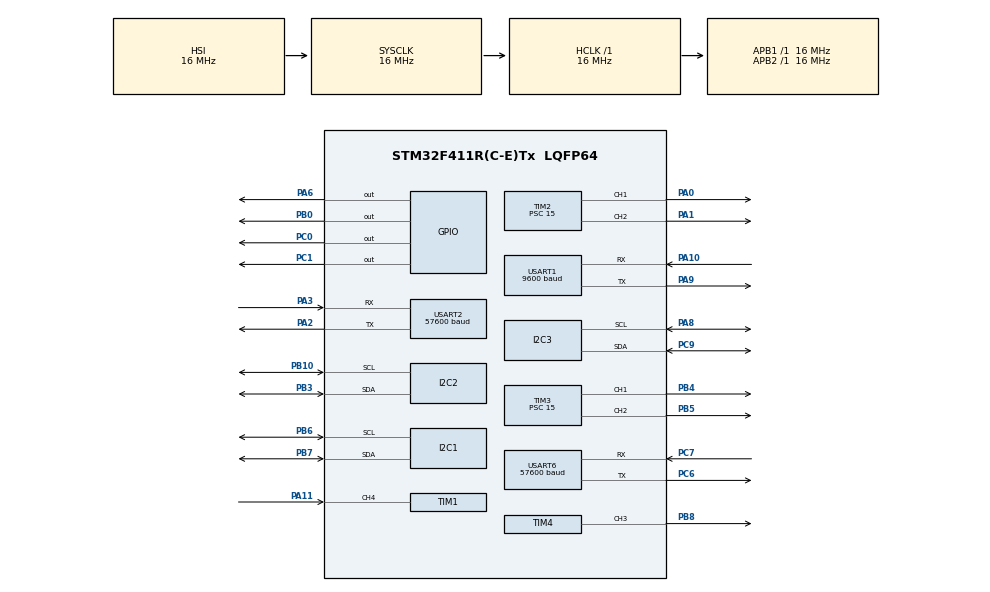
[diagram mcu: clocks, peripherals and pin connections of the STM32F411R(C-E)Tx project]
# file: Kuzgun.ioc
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Dma.Request0=USART2_TX
Dma.Request1=USART6_TX
Dma.USART2_TX.0.Direction=DMA_MEMORY_TO_PERIPH
Dma.USART2_TX.0.FIFOMode=DMA_FIFOMODE_DISABLE
Dma.USART2_TX.0.Instance=DMA1_Stream6
Dma.USART2_TX.0.MemDataAlignment=DMA_MDATAALIGN_BYTE
Dma.USART2_TX.0.MemInc=DMA_MINC_ENABLE
Dma.USART2_TX.0.Mode=DMA_NORMAL
Dma.USART2_TX.0.PeriphDataAlignment=DMA_PDATAALIGN_BYTE
Dma.USART2_TX.0.PeriphInc=DMA_PINC_DISABLE
Dma.USART2_TX.0.Priority=DMA_PRIORITY_LOW
Dma.USART6_TX.1.Direction=DMA_MEMORY_TO_PERIPH
Dma.USART6_TX.1.FIFOMode=DMA_FIFOMODE_DISABLE
Dma.USART6_TX.1.Instance=DMA2_Stream6
Dma.USART6_TX.1.MemDataAlignment=DMA_MDATAALIGN_BYTE
Dma.USART6_TX.1.MemInc=DMA_MINC_ENABLE
Dma.USART6_TX.1.Mode=DMA_NORMAL
Dma.USART6_TX.1.PeriphDataAlignment=DMA_PDATAALIGN_BYTE
Dma.USART6_TX.1.PeriphInc=DMA_PINC_DISABLE
Dma.USART6_TX.1.Priority=DMA_PRIORITY_LOW
FREERTOS.Tasks01=defaultTask,24,128,StartDefaultTask,Default,NULL,Dynamic,NULL,NULL
FREERTOS.configUSE_NEWLIB_REENTRANT=1
I2C1.I2C_Mode=I2C_Fast
I2C2.I2C_Mode=I2C_Fast
Mcu.Family=STM32F4
Mcu.Name=STM32F411R(C-E)Tx
Mcu.Package=LQFP64
NVIC.DMA1_Stream6_IRQn=true\:5\:0\:false\:false\:true\:true\:false\:true\:true
NVIC.DMA2_Stream6_IRQn=true\:5\:0\:false\:false\:true\:true\:false\:true\:true
NVIC.PriorityGroup=NVIC_PRIORITYGROUP_4
NVIC.TIM1_CC_IRQn=true\:5\:0\:false\:false\:true\:true\:true\:true\:true
NVIC.USART1_IRQn=true\:5\:0\:false\:false\:true\:true\:true\:true\:true
NVIC.USART2_IRQn=true\:5\:0\:false\:false\:true\:true\:true\:true\:true
NVIC.USART6_IRQn=true\:5\:0\:false\:false\:true\:true\:true\:true\:true
PA0-WKUP.Signal=S_TIM2_CH1_ETR
PA1.Signal=S_TIM2_CH2
PA10.Mode=Asynchronous
PA10.Signal=USART1_RX
PA11.Signal=S_TIM1_CH4
PA2.Mode=Asynchronous
PA2.Signal=USART2_TX
PA3.Mode=Asynchronous
PA3.Signal=USART2_RX
PA6.Signal=GPIO_Output
PA8.Mode=I2C
PA8.Signal=I2C3_SCL
PA9.Mode=Asynchronous
PA9.Signal=USART1_TX
PB0.Signal=GPIO_Output
PB10.Mode=I2C
PB10.Signal=I2C2_SCL
PB3.Mode=I2C
PB3.Signal=I2C2_SDA
PB4.Signal=S_TIM3_CH1
PB5.Signal=S_TIM3_CH2
PB6.Mode=I2C
PB6.Signal=I2C1_SCL
PB7.Mode=I2C
PB7.Signal=I2C1_SDA
PB8.Signal=S_TIM4_CH3
PC0.Signal=GPIO_Output
PC1.Signal=GPIO_Output
PC6.Mode=Asynchronous
PC6.Signal=USART6_TX
PC7.Mode=Asynchronous
PC7.Signal=USART6_RX
PC9.Mode=I2C
PC9.Signal=I2C3_SDA
ProjectManager.HeapSize=0x200
ProjectManager.StackSize=0x400
ProjectManager.TargetToolchain=STM32CubeIDE
RCC.AHBFreq_Value=16000000
RCC.APB1Freq_Value=16000000
RCC.APB2Freq_Value=16000000
RCC.CortexFreq_Value=16000000
RCC.HSE_VALUE=25000000
RCC.HSI_VALUE=16000000
RCC.LSE_VALUE=32768
RCC.SYSCLKFreq_VALUE=16000000
RCC.VCOOutputFreq_Value=192000000
SH.S_TIM1_CH4.0=TIM1_CH4,Input_Capture4_from_TI4
SH.S_TIM2_CH1_ETR.0=TIM2_CH1,PWM Generation1 CH1
SH.S_TIM2_CH2.0=TIM2_CH2,PWM Generation2 CH2
SH.S_TIM3_CH1.0=TIM3_CH1,PWM Generation1 CH1
SH.S_TIM3_CH2.0=TIM3_CH2,PWM Generation2 CH2
SH.S_TIM4_CH3.0=TIM4_CH3,PWM Generation3 CH3
TIM1.Channel-Input_Capture4_from_TI4=TIM_CHANNEL_4
TIM1.Prescaler=15
TIM2.Channel-PWM\ Generation1\ CH1=TIM_CHANNEL_1
TIM2.Channel-PWM\ Generation2\ CH2=TIM_CHANNEL_2
TIM2.Period=999
TIM2.Prescaler=15
TIM2.Pulse-PWM\ Generation1\ CH1=0
TIM2.Pulse-PWM\ Generation2\ CH2=0
TIM3.Channel-PWM\ Generation1\ CH1=TIM_CHANNEL_1
TIM3.Channel-PWM\ Generation2\ CH2=TIM_CHANNEL_2
TIM3.Period=999
TIM3.Prescaler=15
TIM3.Pulse-PWM\ Generation1\ CH1=0
TIM3.Pulse-PWM\ Generation2\ CH2=0
TIM4.Channel-PWM\ Generation3\ CH3=TIM_CHANNEL_3
TIM4.Period=19999
TIM4.Prescaler=15
USART1.BaudRate=9600
USART1.VirtualMode=VM_ASYNC
USART2.BaudRate=57600
USART2.VirtualMode=VM_ASYNC
USART6.BaudRate=57600
USART6.VirtualMode=VM_ASYNC
VP_FREERTOS_VS_CMSIS_V2.Mode=CMSIS_V2
VP_TIM10_VS_ClockSourceINT.Mode=Enable_Timer
board=custom

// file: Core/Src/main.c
/* USER CODE BEGIN Header */
/**
  ******************************************************************************
  * @file           : main.c
  * @brief          : Main program body
  ******************************************************************************
  * @attention
  *
  * Copyright (c) 2026 STMicroelectronics.
  * All rights reserved.
  *
  * This software is licensed under terms that can be found in the LICENSE file
  * in the root directory of this software component.
  * If no LICENSE file comes with this software, it is provided AS-IS.
  *
  ******************************************************************************
  */
/* USER CODE END Header */
#include "main.h"
#include "cmsis_os.h"

/* USER CODE BEGIN Includes */
#include "controlPPM.h"
#include "flightcontroller.h"
#include <string.h>
#include "serialManager.h"
#include "gpsSystem.h"
#include "servoMotor.h"
#include "stepMotor.h"
#include "raspiManager.h"
/* USER CODE END Includes */

/* USER CODE BEGIN PD */
volatile uint32_t tim2_ic_cnt = 0;
/* USER CODE END PD */

I2C_HandleTypeDef hi2c1;
I2C_HandleTypeDef hi2c2;
I2C_HandleTypeDef hi2c3;

TIM_HandleTypeDef htim1;
TIM_HandleTypeDef htim2;
TIM_HandleTypeDef htim3;
TIM_HandleTypeDef htim4;
TIM_HandleTypeDef htim10;

UART_HandleTypeDef huart1;
UART_HandleTypeDef huart2;
UART_HandleTypeDef huart6;
DMA_HandleTypeDef hdma_usart2_tx;
DMA_HandleTypeDef hdma_usart6_tx;

/* Definitions for defaultTask */
osThreadId_t defaultTaskHandle;
const osThreadAttr_t defaultTask_attributes = {
  .name = "defaultTask",
  .stack_size = 128 * 4,
  .priority = (osPriority_t) osPriorityNormal,
};

void SystemClock_Config(void);
static void MX_GPIO_Init(void);
static void MX_DMA_Init(void);
static void MX_USART2_UART_Init(void);
static void MX_I2C2_Init(void);
static void MX_USART1_UART_Init(void);
static void MX_I2C1_Init(void);
static void MX_USART6_UART_Init(void);
static void MX_TIM10_Init(void);
static void MX_I2C3_Init(void);
static void MX_TIM2_Init(void);
static void MX_TIM1_Init(void);
static void MX_TIM3_Init(void);
static void MX_TIM4_Init(void);
void StartDefaultTask(void *argument);

int main(void)
{

  /* MCU Configuration--------------------------------------------------------*/

  /* Reset of all peripherals, Initializes the Flash interface and the Systick. */
  HAL_Init();

  /* Configure the system clock */
  SystemClock_Config();

  /* Initialize all configured peripherals */
  MX_GPIO_Init();
  MX_DMA_Init();
  MX_USART2_UART_Init();
  MX_I2C2_Init();
  MX_USART1_UART_Init();
  MX_I2C1_Init();
  MX_USART6_UART_Init();
  MX_TIM10_Init();
  MX_I2C3_Init();
  MX_TIM2_Init();
  MX_TIM1_Init();
  MX_TIM3_Init();
  MX_TIM4_Init();

  /* Init scheduler */
  osKernelInitialize();

  /* USER CODE BEGIN RTOS_QUEUES */
  flightController_Init();
  /* add queues, ... */
  /* USER CODE END RTOS_QUEUES */

  /* Create the thread(s) */
  /* creation of defaultTask */
  defaultTaskHandle = osThreadNew(StartDefaultTask, NULL, &defaultTask_attributes);

  /* Start scheduler */
  osKernelStart();

  /* We should never get here as control is now taken by the scheduler */

  /* Infinite loop */
  while (1)
  {

    /* USER CODE BEGIN 3 */
  }
}
void HAL_UART_RxCpltCallback(UART_HandleTypeDef *huart)
{
  if (huart->Instance == USART1) {
    gpsSystem_OnUartRxCplt(huart);
    return;
  }
  if (huart->Instance == USART2) {
	  RPI_RxCpltCallback(huart);
     return;
   }

  if (huart->Instance == USART6) {
    SM_RxCpltCallback(huart);
    return;
  }

}

/*void HAL_TIM_IC_CaptureCallback(TIM_HandleTypeDef *htim)
{
  if (htim->Instance == TIM2 && htim->Channel == HAL_TIM_ACTIVE_CHANNEL_1)
  {
	tim2_ic_cnt++;
    uint32_t cap = HAL_TIM_ReadCapturedValue(htim, TIM_CHANNEL_1);

    uint32_t diff;
    if (cap >= last_cap) diff = cap - last_cap;
    else diff = (0xFFFFFFFFu - last_cap + cap + 1u);

    last_cap = cap;
    if (diff == 0) return;

    if (diff > PPM_SYNC_US)
    {
      ch_idx = 0;
      ppm_ch_count = 0;
      return;
    }

    if (diff >= PPM_PULSE_MIN_US && diff <= PPM_PULSE_MAX_US)
    {
      if (ch_idx < PPM_CH_MAX)
      {
        ppm_ch[ch_idx] = (uint16_t)diff;
        ch_idx++;
        ppm_ch_count = ch_idx;
        ppm_last_ms = HAL_GetTick();
      }
    }
  }
}*/

  /* USER CODE END 3 */

void SystemClock_Config(void)
{
  RCC_OscInitTypeDef RCC_OscInitStruct = {0};
  RCC_ClkInitTypeDef RCC_ClkInitStruct = {0};

  /** Configure the main internal regulator output voltage
  */
  __HAL_RCC_PWR_CLK_ENABLE();
  __HAL_PWR_VOLTAGESCALING_CONFIG(PWR_REGULATOR_VOLTAGE_SCALE1);

  /** Initializes the RCC Oscillators according to the specified parameters
  * in the RCC_OscInitTypeDef structure.
  */
  RCC_OscInitStruct.OscillatorType = RCC_OSCILLATORTYPE_HSI;
  RCC_OscInitStruct.HSIState = RCC_HSI_ON;
  RCC_OscInitStruct.HSICalibrationValue = RCC_HSICALIBRATION_DEFAULT;
  RCC_OscInitStruct.PLL.PLLState = RCC_PLL_NONE;
  if (HAL_RCC_OscConfig(&RCC_OscInitStruct) != HAL_OK)
  {
    Error_Handler();
  }

  /** Initializes the CPU, AHB and APB buses clocks
  */
  RCC_ClkInitStruct.ClockType = RCC_CLOCKTYPE_HCLK|RCC_CLOCKTYPE_SYSCLK
                              |RCC_CLOCKTYPE_PCLK1|RCC_CLOCKTYPE_PCLK2;
  RCC_ClkInitStruct.SYSCLKSource = RCC_SYSCLKSOURCE_HSI;
  RCC_ClkInitStruct.AHBCLKDivider = RCC_SYSCLK_DIV1;
  RCC_ClkInitStruct.APB1CLKDivider = RCC_HCLK_DIV1;
  RCC_ClkInitStruct.APB2CLKDivider = RCC_HCLK_DIV1;

  if (HAL_RCC_ClockConfig(&RCC_ClkInitStruct, FLASH_LATENCY_0) != HAL_OK)
  {
    Error_Handler();
  }
}

static void MX_I2C1_Init(void)
{

  hi2c1.Instance = I2C1;
  hi2c1.Init.ClockSpeed = 400000;
  hi2c1.Init.DutyCycle = I2C_DUTYCYCLE_2;
  hi2c1.Init.OwnAddress1 = 0;
  hi2c1.Init.AddressingMode = I2C_ADDRESSINGMODE_7BIT;
  hi2c1.Init.DualAddressMode = I2C_DUALADDRESS_DISABLE;
  hi2c1.Init.OwnAddress2 = 0;
  hi2c1.Init.GeneralCallMode = I2C_GENERALCALL_DISABLE;
  hi2c1.Init.NoStretchMode = I2C_NOSTRETCH_DISABLE;
  if (HAL_I2C_Init(&hi2c1) != HAL_OK)
  {
    Error_Handler();
  }

}

static void MX_I2C2_Init(void)
{

  hi2c2.Instance = I2C2;
  hi2c2.Init.ClockSpeed = 400000;
  hi2c2.Init.DutyCycle = I2C_DUTYCYCLE_2;
  hi2c2.Init.OwnAddress1 = 0;
  hi2c2.Init.AddressingMode = I2C_ADDRESSINGMODE_7BIT;
  hi2c2.Init.DualAddressMode = I2C_DUALADDRESS_DISABLE;
  hi2c2.Init.OwnAddress2 = 0;
  hi2c2.Init.GeneralCallMode = I2C_GENERALCALL_DISABLE;
  hi2c2.Init.NoStretchMode = I2C_NOSTRETCH_DISABLE;
  if (HAL_I2C_Init(&hi2c2) != HAL_OK)
  {
    Error_Handler();
  }

}

static void MX_I2C3_Init(void)
{

  hi2c3.Instance = I2C3;
  hi2c3.Init.ClockSpeed = 100000;
  hi2c3.Init.DutyCycle = I2C_DUTYCYCLE_2;
  hi2c3.Init.OwnAddress1 = 0;
  hi2c3.Init.AddressingMode = I2C_ADDRESSINGMODE_7BIT;
  hi2c3.Init.DualAddressMode = I2C_DUALADDRESS_DISABLE;
  hi2c3.Init.OwnAddress2 = 0;
  hi2c3.Init.GeneralCallMode = I2C_GENERALCALL_DISABLE;
  hi2c3.Init.NoStretchMode = I2C_NOSTRETCH_DISABLE;
  if (HAL_I2C_Init(&hi2c3) != HAL_OK)
  {
    Error_Handler();
  }

}

static void MX_TIM1_Init(void)
{

  TIM_MasterConfigTypeDef sMasterConfig = {0};
  TIM_IC_InitTypeDef sConfigIC = {0};

  htim1.Instance = TIM1;
  htim1.Init.Prescaler = 15;
  htim1.Init.CounterMode = TIM_COUNTERMODE_UP;
  htim1.Init.Period = 65535;
  htim1.Init.ClockDivision = TIM_CLOCKDIVISION_DIV1;
  htim1.Init.RepetitionCounter = 0;
  htim1.Init.AutoReloadPreload = TIM_AUTORELOAD_PRELOAD_DISABLE;
  if (HAL_TIM_IC_Init(&htim1) != HAL_OK)
  {
    Error_Handler();
  }
  sMasterConfig.MasterOutputTrigger = TIM_TRGO_RESET;
  sMasterConfig.MasterSlaveMode = TIM_MASTERSLAVEMODE_DISABLE;
  if (HAL_TIMEx_MasterConfigSynchronization(&htim1, &sMasterConfig) != HAL_OK)
  {
    Error_Handler();
  }
  sConfigIC.ICPolarity = TIM_INPUTCHANNELPOLARITY_RISING;
  sConfigIC.ICSelection = TIM_ICSELECTION_DIRECTTI;
  sConfigIC.ICPrescaler = TIM_ICPSC_DIV1;
  sConfigIC.ICFilter = 0;
  if (HAL_TIM_IC_ConfigChannel(&htim1, &sConfigIC, TIM_CHANNEL_4) != HAL_OK)
  {
    Error_Handler();
  }

}

static void MX_TIM2_Init(void)
{

  TIM_MasterConfigTypeDef sMasterConfig = {0};
  TIM_OC_InitTypeDef sConfigOC = {0};

  htim2.Instance = TIM2;
  htim2.Init.Prescaler = 15;
  htim2.Init.CounterMode = TIM_COUNTERMODE_UP;
  htim2.Init.Period = 999;
  htim2.Init.ClockDivision = TIM_CLOCKDIVISION_DIV1;
  htim2.Init.AutoReloadPreload = TIM_AUTORELOAD_PRELOAD_DISABLE;
  if (HAL_TIM_PWM_Init(&htim2) != HAL_OK)
  {
    Error_Handler();
  }
  sMasterConfig.MasterOutputTrigger = TIM_TRGO_RESET;
  sMasterConfig.MasterSlaveMode = TIM_MASTERSLAVEMODE_DISABLE;
  if (HAL_TIMEx_MasterConfigSynchronization(&htim2, &sMasterConfig) != HAL_OK)
  {
    Error_Handler();
  }
  sConfigOC.OCMode = TIM_OCMODE_PWM1;
  sConfigOC.Pulse = 0;
  sConfigOC.OCPolarity = TIM_OCPOLARITY_HIGH;
  sConfigOC.OCFastMode = TIM_OCFAST_DISABLE;
  if (HAL_TIM_PWM_ConfigChannel(&htim2, &sConfigOC, TIM_CHANNEL_1) != HAL_OK)
  {
    Error_Handler();
  }
  if (HAL_TIM_PWM_ConfigChannel(&htim2, &sConfigOC, TIM_CHANNEL_2) != HAL_OK)
  {
    Error_Handler();
  }
  HAL_TIM_MspPostInit(&htim2);

}

static void MX_TIM3_Init(void)
{

  TIM_MasterConfigTypeDef sMasterConfig = {0};
  TIM_OC_InitTypeDef sConfigOC = {0};

  htim3.Instance = TIM3;
  htim3.Init.Prescaler = 15;
  htim3.Init.CounterMode = TIM_COUNTERMODE_UP;
  htim3.Init.Period = 999;
  htim3.Init.ClockDivision = TIM_CLOCKDIVISION_DIV1;
  htim3.Init.AutoReloadPreload = TIM_AUTORELOAD_PRELOAD_DISABLE;
  if (HAL_TIM_PWM_Init(&htim3) != HAL_OK)
  {
    Error_Handler();
  }
  sMasterConfig.MasterOutputTrigger = TIM_TRGO_RESET;
  sMasterConfig.MasterSlaveMode = TIM_MASTERSLAVEMODE_DISABLE;
  if (HAL_TIMEx_MasterConfigSynchronization(&htim3, &sMasterConfig) != HAL_OK)
  {
    Error_Handler();
  }
  sConfigOC.OCMode = TIM_OCMODE_PWM1;
  sConfigOC.Pulse = 0;
  sConfigOC.OCPolarity = TIM_OCPOLARITY_HIGH;
  sConfigOC.OCFastMode = TIM_OCFAST_DISABLE;
  if (HAL_TIM_PWM_ConfigChannel(&htim3, &sConfigOC, TIM_CHANNEL_1) != HAL_OK)
  {
    Error_Handler();
  }
  if (HAL_TIM_PWM_ConfigChannel(&htim3, &sConfigOC, TIM_CHANNEL_2) != HAL_OK)
  {
    Error_Handler();
  }
  HAL_TIM_MspPostInit(&htim3);

}

static void MX_TIM4_Init(void)
{

  TIM_MasterConfigTypeDef sMasterConfig = {0};
  TIM_OC_InitTypeDef sConfigOC = {0};

  htim4.Instance = TIM4;
  htim4.Init.Prescaler = 15;
  htim4.Init.CounterMode = TIM_COUNTERMODE_UP;
  htim4.Init.Period = 19999;
  htim4.Init.ClockDivision = TIM_CLOCKDIVISION_DIV1;
  htim4.Init.AutoReloadPreload = TIM_AUTORELOAD_PRELOAD_DISABLE;
  if (HAL_TIM_PWM_Init(&htim4) != HAL_OK)
  {
    Error_Handler();
  }
  sMasterConfig.MasterOutputTrigger = TIM_TRGO_RESET;
  sMasterConfig.MasterSlaveMode = TIM_MASTERSLAVEMODE_DISABLE;
  if (HAL_TIMEx_MasterConfigSynchronization(&htim4, &sMasterConfig) != HAL_OK)
  {
    Error_Handler();
  }
  sConfigOC.OCMode = TIM_OCMODE_PWM1;
  sConfigOC.Pulse = 0;
  sConfigOC.OCPolarity = TIM_OCPOLARITY_HIGH;
  sConfigOC.OCFastMode = TIM_OCFAST_DISABLE;
  if (HAL_TIM_PWM_ConfigChannel(&htim4, &sConfigOC, TIM_CHANNEL_3) != HAL_OK)
  {
    Error_Handler();
  }
  HAL_TIM_MspPostInit(&htim4);

}

static void MX_TIM10_Init(void)
{

  htim10.Instance = TIM10;
  htim10.Init.Prescaler = 0;
  htim10.Init.CounterMode = TIM_COUNTERMODE_UP;
  htim10.Init.Period = 65535;
  htim10.Init.ClockDivision = TIM_CLOCKDIVISION_DIV1;
  htim10.Init.AutoReloadPreload = TIM_AUTORELOAD_PRELOAD_DISABLE;
  if (HAL_TIM_Base_Init(&htim10) != HAL_OK)
  {
    Error_Handler();
  }

}

static void MX_USART1_UART_Init(void)
{

  huart1.Instance = USART1;
  huart1.Init.BaudRate = 9600;
  huart1.Init.WordLength = UART_WORDLENGTH_8B;
  huart1.Init.StopBits = UART_STOPBITS_1;
  huart1.Init.Parity = UART_PARITY_NONE;
  huart1.Init.Mode = UART_MODE_TX_RX;
  huart1.Init.HwFlowCtl = UART_HWCONTROL_NONE;
  huart1.Init.OverSampling = UART_OVERSAMPLING_16;
  if (HAL_UART_Init(&huart1) != HAL_OK)
  {
    Error_Handler();
  }

}

static void MX_USART2_UART_Init(void)
{

  huart2.Instance = USART2;
  huart2.Init.BaudRate = 57600;
  huart2.Init.WordLength = UART_WORDLENGTH_8B;
  huart2.Init.StopBits = UART_STOPBITS_1;
  huart2.Init.Parity = UART_PARITY_NONE;
  huart2.Init.Mode = UART_MODE_TX_RX;
  huart2.Init.HwFlowCtl = UART_HWCONTROL_NONE;
  huart2.Init.OverSampling = UART_OVERSAMPLING_16;
  if (HAL_UART_Init(&huart2) != HAL_OK)
  {
    Error_Handler();
  }

}

static void MX_USART6_UART_Init(void)
{

  huart6.Instance = USART6;
  huart6.Init.BaudRate = 57600;
  huart6.Init.WordLength = UART_WORDLENGTH_8B;
  huart6.Init.StopBits = UART_STOPBITS_1;
  huart6.Init.Parity = UART_PARITY_NONE;
  huart6.Init.Mode = UART_MODE_TX_RX;
  huart6.Init.HwFlowCtl = UART_HWCONTROL_NONE;
  huart6.Init.OverSampling = UART_OVERSAMPLING_16;
  if (HAL_UART_Init(&huart6) != HAL_OK)
  {
    Error_Handler();
  }

}

static void MX_DMA_Init(void)
{

  /* DMA controller clock enable */
  __HAL_RCC_DMA1_CLK_ENABLE();
  __HAL_RCC_DMA2_CLK_ENABLE();

  /* DMA interrupt init */
  /* DMA1_Stream6_IRQn interrupt configuration */
  HAL_NVIC_SetPriority(DMA1_Stream6_IRQn, 5, 0);
  HAL_NVIC_EnableIRQ(DMA1_Stream6_IRQn);
  /* DMA2_Stream6_IRQn interrupt configuration */
  HAL_NVIC_SetPriority(DMA2_Stream6_IRQn, 5, 0);
  HAL_NVIC_EnableIRQ(DMA2_Stream6_IRQn);

}

static void MX_GPIO_Init(void)
{
  GPIO_InitTypeDef GPIO_InitStruct = {0};

  /* GPIO Ports Clock Enable */
  __HAL_RCC_GPIOC_CLK_ENABLE();
  __HAL_RCC_GPIOA_CLK_ENABLE();
  __HAL_RCC_GPIOB_CLK_ENABLE();

  /*Configure GPIO pin Output Level */
  HAL_GPIO_WritePin(GPIOC, GPIO_PIN_0|GPIO_PIN_1, GPIO_PIN_RESET);

  /*Configure GPIO pin Output Level */
  HAL_GPIO_WritePin(GPIOA, GPIO_PIN_6, GPIO_PIN_RESET);

  /*Configure GPIO pin Output Level */
  HAL_GPIO_WritePin(GPIOB, GPIO_PIN_0, GPIO_PIN_RESET);

  /*Configure GPIO pins : PC0 PC1 */
  GPIO_InitStruct.Pin = GPIO_PIN_0|GPIO_PIN_1;
  GPIO_InitStruct.Mode = GPIO_MODE_OUTPUT_PP;
  GPIO_InitStruct.Pull = GPIO_NOPULL;
  GPIO_InitStruct.Speed = GPIO_SPEED_FREQ_LOW;
  HAL_GPIO_Init(GPIOC, &GPIO_InitStruct);

  /*Configure GPIO pin : PA6 */
  GPIO_InitStruct.Pin = GPIO_PIN_6;
  GPIO_InitStruct.Mode = GPIO_MODE_OUTPUT_PP;
  GPIO_InitStruct.Pull = GPIO_NOPULL;
  GPIO_InitStruct.Speed = GPIO_SPEED_FREQ_LOW;
  HAL_GPIO_Init(GPIOA, &GPIO_InitStruct);

  /*Configure GPIO pin : PB0 */
  GPIO_InitStruct.Pin = GPIO_PIN_0;
  GPIO_InitStruct.Mode = GPIO_MODE_OUTPUT_PP;
  GPIO_InitStruct.Pull = GPIO_NOPULL;
  GPIO_InitStruct.Speed = GPIO_SPEED_FREQ_LOW;
  HAL_GPIO_Init(GPIOB, &GPIO_InitStruct);

}

void StartDefaultTask(void *argument)
{
  /* USER CODE BEGIN 5 */

  /* Infinite loop */
  for(;;)
  {

	  // Pini 3.3V yapmak için (Bu durumda transistör iletime geçer, çıkış 0V olur)
	  HAL_GPIO_WritePin(GPIOA, GPIO_PIN_6, GPIO_PIN_SET);
	  osDelay(2000); // 1 saniye HIGH/3.3V tut

	  HAL_GPIO_WritePin(GPIOA, GPIO_PIN_6, GPIO_PIN_RESET);
	  osDelay(2000); // 1 saniye LOW/0V tut

	  /*
	  // 0 Dereceye git
	        Servo_WriteAngle(0);
	        osDel(2000);ay

	        // 90 Dereceye git
	        Servo_WriteAngle(90);
	        osDelay(2000);

	  StepMotor_Step(200, 1, 1000);
	  StepMotor_Step(200, 0, 1000);*/
	  osDelay(2000);

  }
  /* USER CODE END 5 */
}

void Error_Handler(void)
{
  __disable_irq();
  while (1)
  {
  }
}
